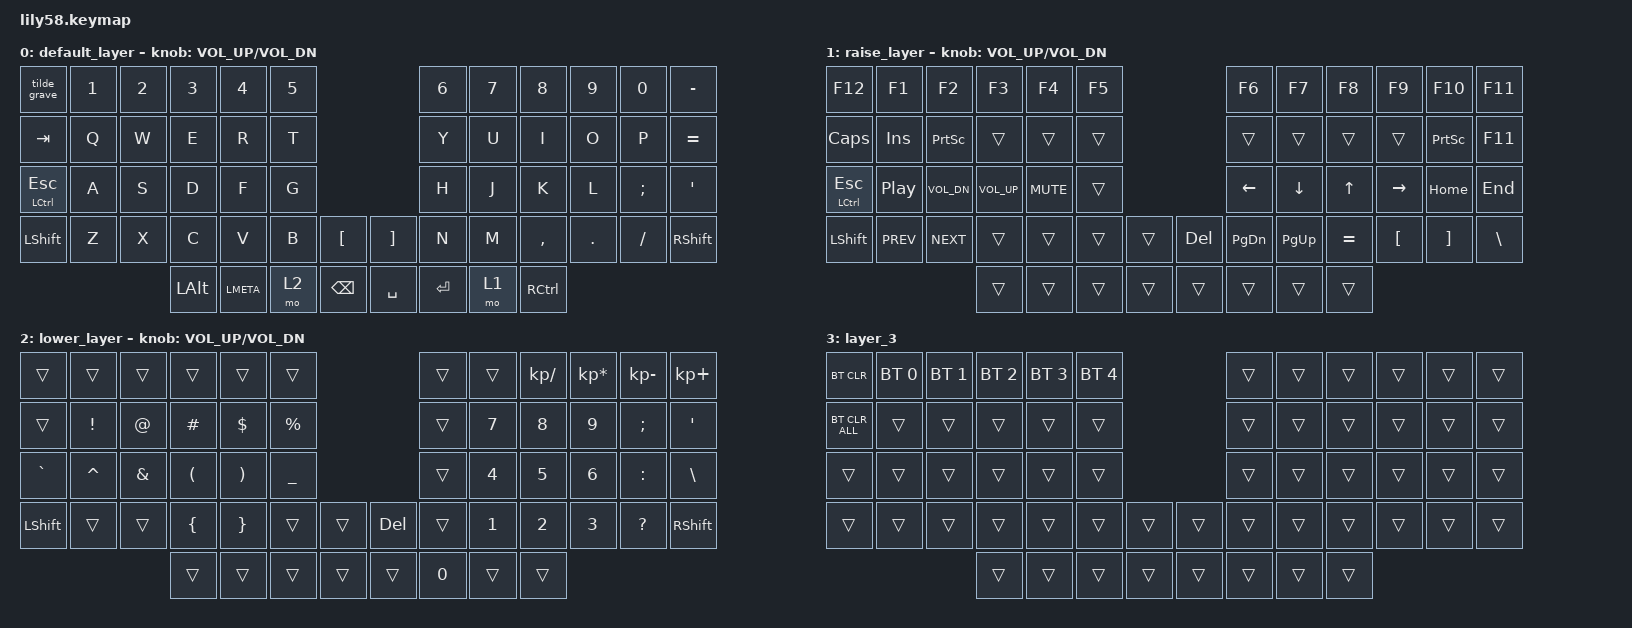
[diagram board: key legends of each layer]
/*
- Copyright (c) 2020 The ZMK Contributors
- SPDX-License-Identifier: MIT
 */

#include <behaviors.dtsi>
#include <dt-bindings/zmk/bt.h>
#include <dt-bindings/zmk/keys.h>

/ {
    behaviors {
        // Envia TILDE (~) por padrão, e GRAVE (`) quando Shift está pressionado
        tilde_grave: tilde_grave {
            compatible = "zmk,behavior-mod-morph";
            #binding-cells = <0>;
            bindings = <&kp TILDE>, <&kp GRAVE>;
            mods = <(MOD_LSFT|MOD_RSFT)>;
        };
    };

    conditional_layers {
        compatible = "zmk,conditional-layers";

        // Ativa a layer_3 (Bluetooth) SOMENTE ao segurar LOWER (2) + RAISE (1) juntos
        tri_layer {
            if-layers = <1 2>;
            then-layer = <3>;
        };
    };

    combos {
        compatible = "zmk,combos";

        // Combo: M (45) + Vírgula (46) = Interrogação (?)
        combo_question {
            timeout-ms = <50>;
            key-positions = <45 46>;
            bindings = <&kp QMARK>;
        };
    };

    keymap {
        compatible = "zmk,keymap";

        default_layer {
            // ------------------------------------------------------------------------------------------------------------
            // | ~ / `    |  1  |  2  |  3   |  4   |  5   |                   |  6   |  7    |  8    |  9   |   0   |   -   |
            // |  TAB     |  Q  |  W  |  E   |  R   |  T   |                   |  Y   |  U    |  I    |  O   |   P   |   =   |
            // |hCTRL tESC|  A  |  S  |  D   |  F   |  G   |                   |  H   |  J    |  K    |  L   |   ;   |   '   |
            // | SHIFT    |  Z  |  X  |  C   |  V   |  B   |   "["  |  |  "]"  |  N   |  M    |  ,    |  .   |   /   | SHIFT |
            //                        | ALT  | GUI  | LOWER|  BSPC  |  | SPACE | ENTER| RAISE | RCTRL |

            bindings = <
&tilde_grave   &kp N1  &kp N2  &kp N3    &kp N4     &kp N5                        &kp N6     &kp N7  &kp N8     &kp N9   &kp N0    &kp MINUS
&kp TAB        &kp Q   &kp W   &kp E     &kp R      &kp T                         &kp Y      &kp U   &kp I      &kp O    &kp P     &kp EQUAL
&mt LCTRL ESC  &kp A   &kp S   &kp D     &kp F      &kp G                         &kp H      &kp J   &kp K      &kp L    &kp SEMI  &kp SQT
&kp LSHFT      &kp Z   &kp X   &kp C     &kp V      &kp B   &kp LBKT    &kp RBKT  &kp N      &kp M   &kp COMMA  &kp DOT  &kp FSLH  &kp RSHFT
                               &kp LALT  &kp LMETA  &mo 2   &kp BSPC    &kp SPACE &kp RET    &mo 1   &kp RCTRL
            >;

            sensor-bindings = <&inc_dec_kp C_VOL_UP C_VOL_DN>;
        };

        raise_layer {
            // POLEGAR DIREITO (RAISE - mo 1):
            // Topo: F1..F12 (F11 no Hífen, F12 no Til/Crase)
            // Segunda Fileira: CAPS no Tab, INS no Q, PSCRN no W e no P, F11 de reserva no Igual (=)
            // Mão Esquerda: Controles de Mídia e Volume (A..F, Z..X)
            // Mão Direita: Setas e Navegação (HJKL, HOME, END, PG_UP, PG_DN, DEL)
            bindings = <
&kp F12        &kp F1      &kp F2        &kp F3        &kp F4      &kp F5                    &kp F6     &kp F7     &kp F8     &kp F9     &kp F10    &kp F11
&kp CAPS       &kp INS     &kp PSCRN     &trans        &trans      &trans                    &trans     &trans     &trans     &trans     &kp PSCRN  &kp F11
&mt LCTRL ESC  &kp C_PP    &kp C_VOL_DN  &kp C_VOL_UP  &kp C_MUTE  &trans                    &kp LEFT   &kp DOWN   &kp UP     &kp RIGHT  &kp HOME   &kp END
&kp LSHIFT     &kp C_PREV  &kp C_NEXT    &trans        &trans      &trans  &trans    &kp DEL &kp PG_DN  &kp PG_UP  &kp EQUAL  &kp LBKT   &kp RBKT   &kp BSLH
                                         &trans        &trans      &trans  &trans    &trans  &trans     &trans     &trans
            >;

            sensor-bindings = <&inc_dec_kp C_VOL_UP C_VOL_DN>;
        };

        lower_layer {
            // POLEGAR ESQUERDO (LOWER - mo 2):
            // Mão Esquerda: Símbolos (sem comandos BT para evitar acionamento acidental)
            // Mão Direita: Numpad (UIO = 789 | JKL = 456 | M,. = 123 | Enter = 0)
            bindings = <
&trans          &trans        &trans        &trans        &trans        &trans                           &trans      &trans         &kp KP_SLASH     &kp KP_MULTIPLY &kp KP_MINUS &kp KP_PLUS
&trans          &kp EXCL      &kp AT        &kp HASH      &kp DOLLAR    &kp PRCNT                        &trans      &kp N7         &kp N8           &kp N9          &kp SEMI     &kp SQT
&kp GRAVE       &kp CARET     &kp AMPS      &kp LPAR      &kp RPAR      &kp UNDER                        &trans      &kp N4         &kp N5           &kp N6          &kp COLON    &kp BSLH
&kp LSHIFT      &trans        &trans        &kp LBRC      &kp RBRC      &trans        &trans    &kp DEL  &trans      &kp N1         &kp N2           &kp N3          &kp QMARK    &kp RSHFT
                                            &trans        &trans        &trans        &trans    &trans   &kp N0      &trans         &trans
            >;

            sensor-bindings = <&inc_dec_kp C_VOL_UP C_VOL_DN>;
        };

        layer_3 {
            // CAMADA DE BLUETOOTH (LOWER + RAISE simultâneos):
            // Isolada na mão esquerda: 1..5 = BT_SEL 0..4 | Esc/Til = BT_CLR | Tab = BT_CLR_ALL
            bindings = <
&bt BT_CLR      &bt BT_SEL 0  &bt BT_SEL 1  &bt BT_SEL 2  &bt BT_SEL 3  &bt BT_SEL 4              &trans  &trans  &trans  &trans  &trans  &trans
&bt BT_CLR_ALL  &trans        &trans        &trans        &trans        &trans                    &trans  &trans  &trans  &trans  &trans  &trans
&trans          &trans        &trans        &trans        &trans        &trans                    &trans  &trans  &trans  &trans  &trans  &trans
&trans          &trans        &trans        &trans        &trans        &trans  &trans    &trans  &trans  &trans  &trans  &trans  &trans  &trans
                                            &trans        &trans        &trans  &trans    &trans  &trans  &trans  &trans
            >;
        };
    };
};
